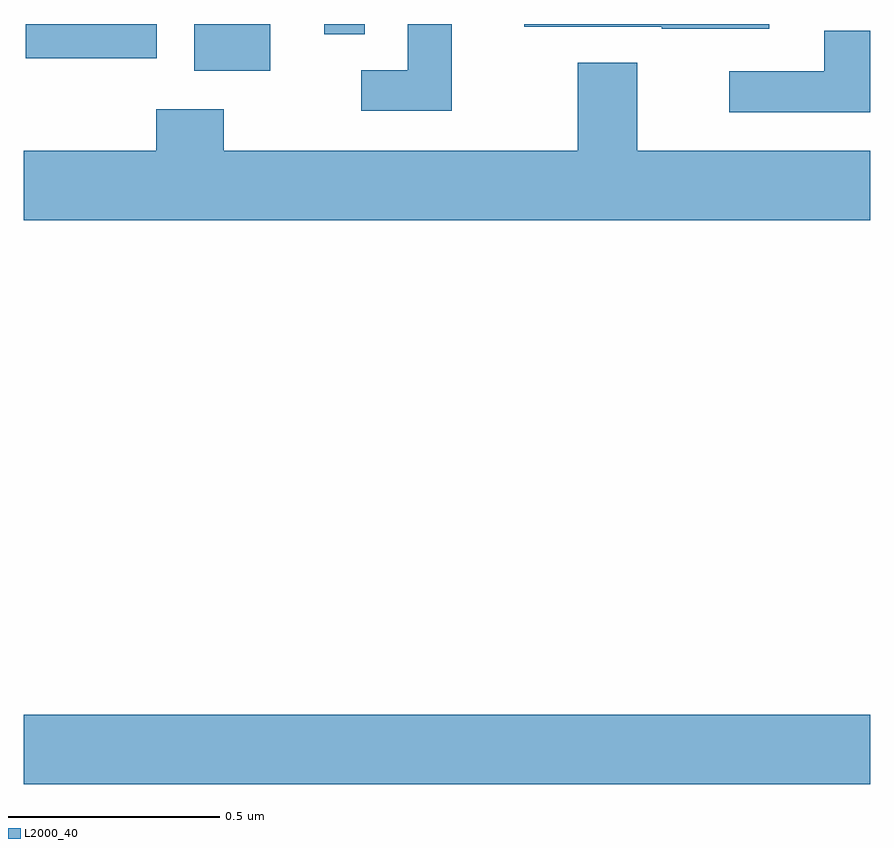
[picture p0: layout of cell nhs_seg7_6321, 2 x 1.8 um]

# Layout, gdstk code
import gdstk
lib = gdstk.Library(unit=1e-6, precision=1e-09)
def R(c, l, rs):  # rectangles x0, y0, x1, y1
    for r in rs: c.add(gdstk.rectangle(r[:2], r[2:], *l))
def P(c, l, *ps):  # polygons
    for p in ps: c.add(gdstk.Polygon(p, *l))
L2000_40 = (2000, 40)

nhs_seg7_6321 = lib.new_cell('nhs_seg7_6321')
R(nhs_seg7_6321, L2000_40, [(196,1079.204,198,1079.368), (196.403,1080.89,196.582,1081), (196.005,1080.919,196.314,1081), (196.71,1080.976,196.806,1081)])
P(nhs_seg7_6321, L2000_40, [(197.011,1081),(196.907,1081),(196.907,1080.891),(196.797,1080.891),(196.797,1080.795),(197.011,1080.795)],
  [(197.761,1081),(197.183,1081),(197.183,1080.993),(197.507,1080.993),(197.507,1080.989),(197.761,1080.989)],
  [(198,1080.984),(197.891,1080.984),(197.891,1080.888),(197.667,1080.888),(197.667,1080.792),(198,1080.792)],
  [(198,1080.7),(197.449,1080.7),(197.449,1080.908),(197.309,1080.908),(197.309,1080.7),(196.473,1080.7),(196.473,1080.799),(196.313,1080.799),(196.313,1080.7),(196,1080.7),(196,1080.536),(198,1080.536)])

lib.write_gds('nhs_seg7_6321.gds')
